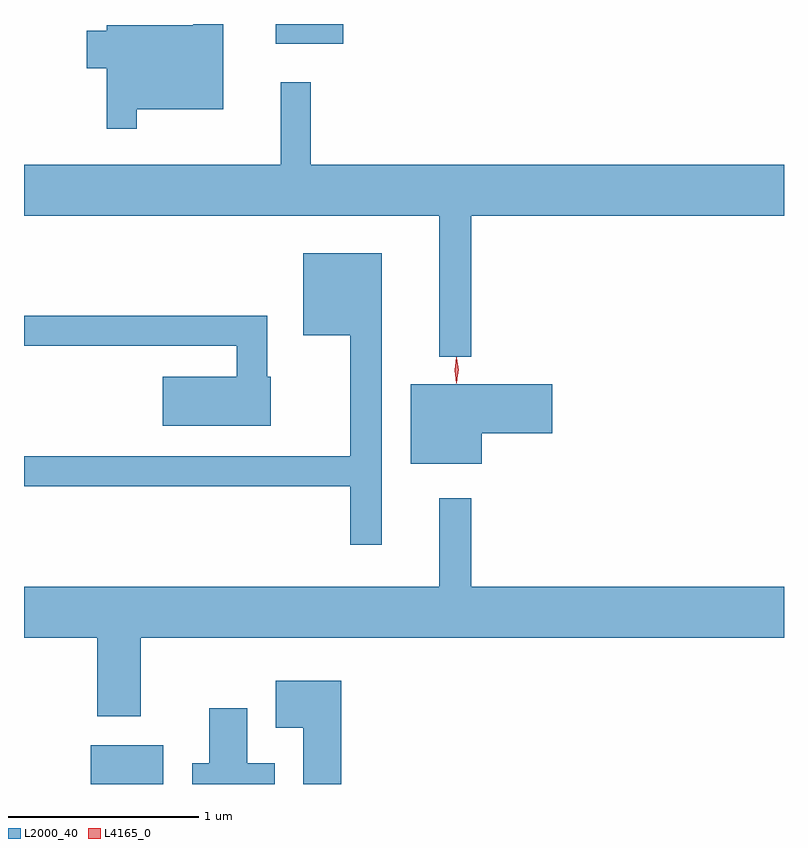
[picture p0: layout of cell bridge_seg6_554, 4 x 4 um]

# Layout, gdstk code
import gdstk
lib = gdstk.Library(unit=1e-6, precision=1e-09)
def R(c, l, rs):  # rectangles x0, y0, x1, y1
    for r in rs: c.add(gdstk.rectangle(r[:2], r[2:], *l))
def P(c, l, *ps):  # polygons
    for p in ps: c.add(gdstk.Polygon(p, *l))
L2000_40 = (2000, 40)
L4165_0 = (4165, 0)

bridge_seg6_554 = lib.new_cell('bridge_seg6_554')
R(bridge_seg6_554, L2000_40, [(425.816,1635.845,426.199,1636.049), (426.791,1639.741,427.144,1639.845)])
P(bridge_seg6_554, L2000_40, [(426.059,1639.396),(426.514,1639.396),(426.514,1639.845),(426.356,1639.845),(426.356,1639.839),(425.901,1639.839),(425.901,1639.809),(425.796,1639.809),(425.796,1639.611),(425.901,1639.611),(425.901,1639.293),(426.059,1639.293)],
  [(427.819,1638.836),(429.465,1638.836),(429.465,1639.104),(426.974,1639.104),(426.974,1639.538),(426.816,1639.538),(426.816,1639.104),(425.465,1639.104),(425.465,1638.836),(427.651,1638.836),(427.651,1638.093),(427.819,1638.093)],
  [(427.349,1638.639),(426.936,1638.639),(426.936,1638.206),(427.181,1638.206),(427.181,1637.569),(425.465,1637.569),(425.465,1637.411),(427.181,1637.411),(427.181,1637.103),(427.349,1637.103)],
  [(426.764,1637.989),(426.744,1637.989),(426.744,1638.309),(425.465,1638.309),(425.465,1638.151),(426.586,1638.151),(426.586,1637.989),(426.196,1637.989),(426.196,1637.731),(426.764,1637.731)],
  [(427.874,1637.691),(428.244,1637.691),(428.244,1637.949),(427.501,1637.949),(427.501,1637.531),(427.874,1637.531)],
  [(426.079,1636.616),(429.465,1636.616),(429.465,1636.884),(427.819,1636.884),(427.819,1637.348),(427.651,1637.348),(427.651,1636.884),(425.465,1636.884),(425.465,1636.616),(425.851,1636.616),(425.851,1636.201),(426.079,1636.201)],
  [(427.134,1636.389),(426.791,1636.389),(426.791,1636.141),(426.936,1636.141),(426.936,1635.845),(427.134,1635.845)],
  [(426.784,1635.954),(426.639,1635.954),(426.639,1636.244),(426.441,1636.244),(426.441,1635.954),(426.351,1635.954),(426.351,1635.845),(426.784,1635.845)])
P(bridge_seg6_554, L4165_0, [(427.742,1637.96),(427.742,1637.961),(427.732,1638.023),(427.74,1638.086),(427.741,1638.087),(427.742,1638.086),(427.752,1638.024),(427.743,1637.961)],
  [(427.741,1637.954),(427.731,1638.022),(427.74,1638.09),(427.741,1638.09),(427.742,1638.09),(427.751,1638.022),(427.742,1637.954),(427.742,1637.954)])

lib.write_gds('bridge_seg6_554.gds')
